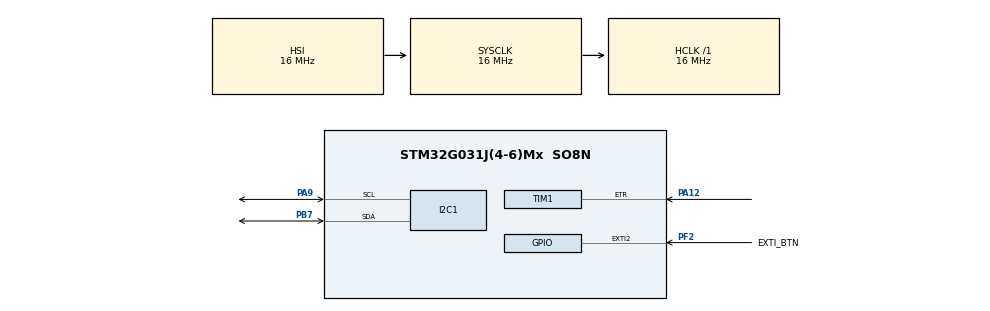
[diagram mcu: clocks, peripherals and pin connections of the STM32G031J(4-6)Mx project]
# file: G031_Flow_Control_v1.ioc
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Mcu.Family=STM32G0
Mcu.Name=STM32G031J(4-6)Mx
Mcu.Package=SO8N
NVIC.EXTI2_3_IRQn=true\:0\:0\:false\:false\:true\:true\:true
NVIC.RTC_TAMP_IRQn=true\:0\:0\:false\:false\:true\:true\:true
NVIC.TIM3_IRQn=true\:0\:0\:false\:false\:true\:true\:true
PA12\ [PA10].Signal=S_TIM1_ETR
PA13.Mode=Serial_Wire
PA13.Signal=SYS_SWDIO
PA14-BOOT0.Mode=Serial_Wire
PA14-BOOT0.Signal=SYS_SWCLK
PA9\ [PA11].Mode=I2C
PA9\ [PA11].Signal=I2C1_SCL
PB7.Mode=I2C
PB7.Signal=I2C1_SDA
PF2\ -\ NRST.GPIO_Label=EXTI_BTN
PF2\ -\ NRST.GPIO_ModeDefaultEXTI=GPIO_MODE_IT_FALLING
PF2\ -\ NRST.GPIO_PuPd=GPIO_PULLUP
PF2\ -\ NRST.Signal=GPXTI2
ProjectManager.HeapSize=0x200
ProjectManager.StackSize=0x400
ProjectManager.TargetToolchain=STM32CubeIDE
RCC.AHBFreq_Value=16000000
RCC.CortexFreq_Value=16000000
RCC.EXTERNAL_CLOCK_VALUE=12288000
RCC.HCLKFreq_Value=16000000
RCC.HSE_VALUE=8000000
RCC.HSI_VALUE=16000000
RCC.LSE_VALUE=32768
RCC.SYSCLKFreq_VALUE=16000000
RCC.VCOOutputFreq_Value=128000000
RTC.Hours=12
RTC.SynchPrediv=246
RTC.WakeUpClock=RTC_WAKEUPCLOCK_CK_SPRE_16BITS
RTC.WakeUpCounter=1
RTC.Year=21
SH.S_TIM1_ETR.0=TIM1_ETR,ClockSourceETR_Mode2
TIM3.Period=10000-1
TIM3.Prescaler=1600-1
TIM3.TIM_MasterOutputTrigger=TIM_TRGO_ENABLE
VP_RTC_VS_RTC_Activate.Mode=RTC_Enabled
VP_RTC_VS_RTC_Calendar.Mode=RTC_Calendar
VP_RTC_VS_RTC_WakeUp_intern.Mode=WakeUp
VP_SYS_VS_PINREMAP.Mode=PINREMAP
VP_TIM1_VS_ClockSourceITR.Mode=TriggerSource_ITR2
VP_TIM1_VS_ControllerModeGated.Mode=Gated Mode
VP_TIM3_VS_ClockSourceINT.Mode=Internal
board=custom

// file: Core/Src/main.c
/* USER CODE BEGIN Header */
/**
  ******************************************************************************
  * @file           : main.c
  * @brief          : Main program body
  ******************************************************************************
  * @attention
  *
  * <h2><center>&copy; Copyright (c) 2021 STMicroelectronics.
  * All rights reserved.</center></h2>
  *
  * This software component is licensed by ST under BSD 3-Clause license,
  * the "License"; You may not use this file except in compliance with the
  * License. You may obtain a copy of the License at:
  *                        opensource.org/licenses/BSD-3-Clause
  *
  ******************************************************************************
  */
/* USER CODE END Header */
#include "main.h"

/* USER CODE BEGIN Includes */
#include "EEPROM.h"
#include "lcd1602_i2c.h"
#include "menu.h"]
#include "flow_control.h"
#include "stdio.h"
#include "pcf857x.h"
/* USER CODE END Includes */

/* USER CODE BEGIN PD */
#define LCD_ADDR 	39
#define EXT_IO 		35
/* USER CODE END PD */

I2C_HandleTypeDef hi2c1;

RTC_HandleTypeDef hrtc;

TIM_HandleTypeDef htim1;
TIM_HandleTypeDef htim3;

/* USER CODE BEGIN PV */
volatile int delay = 500;
static int seconds = 0;
static int frequency = 0;
static int cb = 0;
static bool alarm_on = false;
static pulses = 0;

uint8_t lcd_addr;
uint8_t addrs[5] = {0, };

extern bool Key_press_event = false;
extern Menu_Keys Key_pressed = KEY_NONE;

extern FC_Settings fc_settings;

/* USER CODE END PV */

void SystemClock_Config(void);
static void MX_GPIO_Init(void);
static void MX_I2C1_Init(void);
static void MX_TIM1_Init(void);
static void MX_TIM3_Init(void);
static void MX_RTC_Init(void);
/* USER CODE BEGIN PFP */
void GetKey();
void EnableRTCWkUP();

/* USER CODE END PFP */

/* USER CODE BEGIN 0 */
void alarm() {

	alarm_on = true;

	for(int repeats=0; repeats < 4; repeats++) {
	  pcf857x_Write(0, 1);
	  HAL_Delay(100);
	  pcf857x_Write(0, 0);
	  HAL_Delay(100);
	}
	pcf857x_ResetInterruptPin();

	alarm_on = false;

}
/* USER CODE END 0 */

int main(void)
{

  /* MCU Configuration--------------------------------------------------------*/

  /* Reset of all peripherals, Initializes the Flash interface and the Systick. */
  HAL_Init();

  /* Configure the system clock */
  SystemClock_Config();

  /* Initialize all configured peripherals */
  MX_GPIO_Init();
  MX_I2C1_Init();
  MX_TIM1_Init();
  MX_TIM3_Init();
  MX_RTC_Init();
  /* USER CODE BEGIN 2 */

//    uint8_t curr_addr = 0;
//    uint8_t cnt = 0;
//    while(curr_addr != 128) {
//
//  	  curr_addr = I2C_Scan(&hi2c1, curr_addr + 1);
//  	  addrs[cnt++] = curr_addr;
//
//
//    }

//    HAL_StatusTypeDef res = HAL_I2C_Master_Transmit(&hi2c1, EXT_IO << 1, 0b01111111,
//                                  1, HAL_MAX_DELAY);
//
//    if(res != HAL_OK) {
//  	  while(1);
//    }

  if(pcf857x_Init(0b11111110, false) != PCF857x_OK)
   {
    while(1);
   }

  pcf857x_ResetInterruptPin();

  if(LCD_Init(&hi2c1, LCD_ADDR) != HAL_OK) {
	  while(1);
  }

  // set address to 0x00
  LCD_SendCommand(0b10000000);
  LCD_SendString("Flow meter");

  // set address to 0x40
  LCD_SendCommand(0b11000000);
  LCD_SendString("version 1.0");

  HAL_Delay(1000);

  //mem testing
  EEPROM_Init();
  pulses_calibration = 0;
  sessionLitres = 0;
  calibration_mode = false;
//  EEPROM_Test();
//  //EEPROM_Test();
//  LCD_Cls();
//  LCD_SendCommand(0b10000000);
//  LCD_SendString("Test passed...");
//  while(1);
  //

  /* USER CODE END 2 */

  /* Infinite loop */
  /* USER CODE BEGIN WHILE */

  HAL_TIM_Base_Start_IT(&htim3);
  HAL_TIM_Base_Start(&htim1);

  EnableRTCWkUP();
  flowControlSetup();

  while (1)
  {

	  switch (CurrentAppState) {

	  	case APP_STATE_START:
		case APP_STATE_IDLE:
		case APP_STATE_IDLE_LIGHTON:
		case APP_STATE_EXT_VIEW_1:
		case APP_STATE_EXT_VIEW_2:

			processIdleState();
			break;

		case APP_STATE_FIRST_START:
			break;

		case APP_STATE_MENU_SHOW:
			MENU_Run(Key_pressed);
			break;

		default:
			break;

	  }

	  if(needMakeRecord) {
		  putRecordToLog();
		  if(currentWaterConsumption > fc_settings.alarmLitres)
			  alarm();
	  }

    /* USER CODE END WHILE */

  }
}

void SystemClock_Config(void)
{
  RCC_OscInitTypeDef RCC_OscInitStruct = {0};
  RCC_ClkInitTypeDef RCC_ClkInitStruct = {0};
  RCC_PeriphCLKInitTypeDef PeriphClkInit = {0};

  /** Configure the main internal regulator output voltage
  */
  HAL_PWREx_ControlVoltageScaling(PWR_REGULATOR_VOLTAGE_SCALE1);
  /** Initializes the RCC Oscillators according to the specified parameters
  * in the RCC_OscInitTypeDef structure.
  */
  RCC_OscInitStruct.OscillatorType = RCC_OSCILLATORTYPE_HSI|RCC_OSCILLATORTYPE_LSI;
  RCC_OscInitStruct.HSIState = RCC_HSI_ON;
  RCC_OscInitStruct.HSIDiv = RCC_HSI_DIV1;
  RCC_OscInitStruct.HSICalibrationValue = RCC_HSICALIBRATION_DEFAULT;
  RCC_OscInitStruct.LSIState = RCC_LSI_ON;
  RCC_OscInitStruct.PLL.PLLState = RCC_PLL_NONE;
  if (HAL_RCC_OscConfig(&RCC_OscInitStruct) != HAL_OK)
  {
    Error_Handler();
  }
  /** Initializes the CPU, AHB and APB buses clocks
  */
  RCC_ClkInitStruct.ClockType = RCC_CLOCKTYPE_HCLK|RCC_CLOCKTYPE_SYSCLK
                              |RCC_CLOCKTYPE_PCLK1;
  RCC_ClkInitStruct.SYSCLKSource = RCC_SYSCLKSOURCE_HSI;
  RCC_ClkInitStruct.AHBCLKDivider = RCC_SYSCLK_DIV1;
  RCC_ClkInitStruct.APB1CLKDivider = RCC_HCLK_DIV1;

  if (HAL_RCC_ClockConfig(&RCC_ClkInitStruct, FLASH_LATENCY_0) != HAL_OK)
  {
    Error_Handler();
  }
  /** Initializes the peripherals clocks
  */
  PeriphClkInit.PeriphClockSelection = RCC_PERIPHCLK_RTC|RCC_PERIPHCLK_I2C1
                              |RCC_PERIPHCLK_TIM1;
  PeriphClkInit.I2c1ClockSelection = RCC_I2C1CLKSOURCE_PCLK1;
  PeriphClkInit.Tim1ClockSelection = RCC_TIM1CLKSOURCE_PCLK1;
  PeriphClkInit.RTCClockSelection = RCC_RTCCLKSOURCE_LSI;

  if (HAL_RCCEx_PeriphCLKConfig(&PeriphClkInit) != HAL_OK)
  {
    Error_Handler();
  }
}

static void MX_I2C1_Init(void)
{

  hi2c1.Instance = I2C1;
  hi2c1.Init.Timing = 0x00303D5B;
  hi2c1.Init.OwnAddress1 = 0;
  hi2c1.Init.AddressingMode = I2C_ADDRESSINGMODE_7BIT;
  hi2c1.Init.DualAddressMode = I2C_DUALADDRESS_DISABLE;
  hi2c1.Init.OwnAddress2 = 0;
  hi2c1.Init.OwnAddress2Masks = I2C_OA2_NOMASK;
  hi2c1.Init.GeneralCallMode = I2C_GENERALCALL_DISABLE;
  hi2c1.Init.NoStretchMode = I2C_NOSTRETCH_DISABLE;
  if (HAL_I2C_Init(&hi2c1) != HAL_OK)
  {
    Error_Handler();
  }
  /** Configure Analogue filter
  */
  if (HAL_I2CEx_ConfigAnalogFilter(&hi2c1, I2C_ANALOGFILTER_ENABLE) != HAL_OK)
  {
    Error_Handler();
  }
  /** Configure Digital filter
  */
  if (HAL_I2CEx_ConfigDigitalFilter(&hi2c1, 0) != HAL_OK)
  {
    Error_Handler();
  }

}

static void MX_RTC_Init(void)
{

  RTC_TimeTypeDef sTime = {0};
  RTC_DateTypeDef sDate = {0};

  /** Initialize RTC Only
  */
  hrtc.Instance = RTC;
  hrtc.Init.HourFormat = RTC_HOURFORMAT_24;
  hrtc.Init.AsynchPrediv = 127;
  hrtc.Init.SynchPrediv = 246;
  hrtc.Init.OutPut = RTC_OUTPUT_DISABLE;
  hrtc.Init.OutPutRemap = RTC_OUTPUT_REMAP_NONE;
  hrtc.Init.OutPutPolarity = RTC_OUTPUT_POLARITY_HIGH;
  hrtc.Init.OutPutType = RTC_OUTPUT_TYPE_OPENDRAIN;
  hrtc.Init.OutPutPullUp = RTC_OUTPUT_PULLUP_NONE;
  if (HAL_RTC_Init(&hrtc) != HAL_OK)
  {
    Error_Handler();
  }

  /* USER CODE BEGIN Check_RTC_BKUP */
  	  return;
  /* USER CODE END Check_RTC_BKUP */

  /** Initialize RTC and set the Time and Date
  */
  sTime.Hours = 0x12;
  sTime.Minutes = 0x0;
  sTime.Seconds = 0x0;
  sTime.SubSeconds = 0x0;
  sTime.DayLightSaving = RTC_DAYLIGHTSAVING_NONE;
  sTime.StoreOperation = RTC_STOREOPERATION_RESET;
  if (HAL_RTC_SetTime(&hrtc, &sTime, RTC_FORMAT_BCD) != HAL_OK)
  {
    Error_Handler();
  }
  sDate.WeekDay = RTC_WEEKDAY_MONDAY;
  sDate.Month = RTC_MONTH_JANUARY;
  sDate.Date = 0x1;
  sDate.Year = 0x21;

  if (HAL_RTC_SetDate(&hrtc, &sDate, RTC_FORMAT_BCD) != HAL_OK)
  {
    Error_Handler();
  }
  /** Enable the WakeUp
  */
  if (HAL_RTCEx_SetWakeUpTimer_IT(&hrtc, 1, RTC_WAKEUPCLOCK_CK_SPRE_16BITS) != HAL_OK)
  {
    Error_Handler();
  }

}

static void MX_TIM1_Init(void)
{

  TIM_ClockConfigTypeDef sClockSourceConfig = {0};
  TIM_SlaveConfigTypeDef sSlaveConfig = {0};
  TIM_MasterConfigTypeDef sMasterConfig = {0};

  htim1.Instance = TIM1;
  htim1.Init.Prescaler = 0;
  htim1.Init.CounterMode = TIM_COUNTERMODE_UP;
  htim1.Init.Period = 65535;
  htim1.Init.ClockDivision = TIM_CLOCKDIVISION_DIV1;
  htim1.Init.RepetitionCounter = 0;
  htim1.Init.AutoReloadPreload = TIM_AUTORELOAD_PRELOAD_DISABLE;
  if (HAL_TIM_Base_Init(&htim1) != HAL_OK)
  {
    Error_Handler();
  }
  sClockSourceConfig.ClockSource = TIM_CLOCKSOURCE_ETRMODE2;
  sClockSourceConfig.ClockPolarity = TIM_CLOCKPOLARITY_NONINVERTED;
  sClockSourceConfig.ClockPrescaler = TIM_CLOCKPRESCALER_DIV1;
  sClockSourceConfig.ClockFilter = 0;
  if (HAL_TIM_ConfigClockSource(&htim1, &sClockSourceConfig) != HAL_OK)
  {
    Error_Handler();
  }
  sSlaveConfig.SlaveMode = TIM_SLAVEMODE_GATED;
  sSlaveConfig.InputTrigger = TIM_TS_ITR2;
  if (HAL_TIM_SlaveConfigSynchro(&htim1, &sSlaveConfig) != HAL_OK)
  {
    Error_Handler();
  }
  sMasterConfig.MasterOutputTrigger = TIM_TRGO_RESET;
  sMasterConfig.MasterOutputTrigger2 = TIM_TRGO2_RESET;
  sMasterConfig.MasterSlaveMode = TIM_MASTERSLAVEMODE_DISABLE;
  if (HAL_TIMEx_MasterConfigSynchronization(&htim1, &sMasterConfig) != HAL_OK)
  {
    Error_Handler();
  }

}

static void MX_TIM3_Init(void)
{

  TIM_ClockConfigTypeDef sClockSourceConfig = {0};
  TIM_MasterConfigTypeDef sMasterConfig = {0};

  htim3.Instance = TIM3;
  htim3.Init.Prescaler = 1600-1;
  htim3.Init.CounterMode = TIM_COUNTERMODE_UP;
  htim3.Init.Period = 10000-1;
  htim3.Init.ClockDivision = TIM_CLOCKDIVISION_DIV1;
  htim3.Init.AutoReloadPreload = TIM_AUTORELOAD_PRELOAD_DISABLE;
  if (HAL_TIM_Base_Init(&htim3) != HAL_OK)
  {
    Error_Handler();
  }
  sClockSourceConfig.ClockSource = TIM_CLOCKSOURCE_INTERNAL;
  if (HAL_TIM_ConfigClockSource(&htim3, &sClockSourceConfig) != HAL_OK)
  {
    Error_Handler();
  }
  sMasterConfig.MasterOutputTrigger = TIM_TRGO_ENABLE;
  sMasterConfig.MasterSlaveMode = TIM_MASTERSLAVEMODE_DISABLE;
  if (HAL_TIMEx_MasterConfigSynchronization(&htim3, &sMasterConfig) != HAL_OK)
  {
    Error_Handler();
  }

}

static void MX_GPIO_Init(void)
{
  GPIO_InitTypeDef GPIO_InitStruct = {0};

  /* GPIO Ports Clock Enable */
  __HAL_RCC_GPIOB_CLK_ENABLE();
  __HAL_RCC_GPIOF_CLK_ENABLE();
  __HAL_RCC_GPIOA_CLK_ENABLE();

  /*Configure GPIO pin : EXTI_BTN_Pin */
  GPIO_InitStruct.Pin = EXTI_BTN_Pin;
  GPIO_InitStruct.Mode = GPIO_MODE_IT_FALLING;
  GPIO_InitStruct.Pull = GPIO_PULLUP;
  HAL_GPIO_Init(EXTI_BTN_GPIO_Port, &GPIO_InitStruct);

  /* EXTI interrupt init*/
  HAL_NVIC_SetPriority(EXTI2_3_IRQn, 0, 0);
  HAL_NVIC_EnableIRQ(EXTI2_3_IRQn);

}

/* USER CODE BEGIN 4 */

void GetKey() {

	if(Key_press_event) {

		Key_pressed = KEY_NONE;
		debounceCnt = 0;
		pressedCnt = 0;

		//Key_press_event = false;
		for (int key_num = 1; key_num < 5; key_num++)
		  {
		   if(!pcf857x_Read(key_num))
		   {
			   Key_pressed = (Menu_Keys) key_num;

			   break;
		   }

		}
		pcf857x_ResetInterruptPin();
	}

}

void EnableRTCWkUP() {

//	if (HAL_RTCEx_SetWakeUpTimer_IT(&hrtc, 1, RTC_WAKEUPCLOCK_CK_SPRE_16BITS) != HAL_OK)
//	{
//		Error_Handler();
//	}

	if (HAL_RTCEx_SetWakeUpTimer_IT(&hrtc, 2000, RTC_WAKEUPCLOCK_RTCCLK_DIV16) != HAL_OK)
	{
		Error_Handler();
	}

}

void HAL_RTCEx_WakeUpTimerEventCallback(RTC_HandleTypeDef *hrtc) {

	data_idle2_changed = true;
	secCnt++;

//	if (HAL_RTCEx_SetWakeUpTimer(&hrtc, 1, RTC_WAKEUPCLOCK_CK_SPRE_16BITS) != HAL_OK)
//	{
//		Error_Handler();
//	}

}

void HAL_GPIO_EXTI_Falling_Callback(uint16_t GPIO_Pin)
{

	if(GPIO_Pin == EXTI_BTN_Pin && !Key_press_event) {

		//if(i2c_locked) return;
		if(alarm_on) return;

		Key_press_event = true;
		GetKey();

	}

}

void HAL_TIM_PeriodElapsedCallback(TIM_HandleTypeDef *htim)
{
	if(htim == &htim3)
	{
		static bool flow_was = false;
		static uint8_t stopConsumptionCnt = 0;
		static uint32_t sessionSeconds = 0;
		//static uint8_t sessionLitres = 0;
		static float sessionWaterConsumption = 0.0f;

		HAL_TIM_Base_Stop_IT(&htim3);
		uint16_t count = __HAL_TIM_GET_COUNTER(&htim1); // значение в счётчике таймера №1
		//__HAL_TIM_SET_COUNTER(&htim1, 0x0000); //just in time nullize for keep next count

		pulses += count;
		pulses_calibration += count;

		if(!calibration_mode) {

			if(fc_settings.pulsesPerLitre) {

				uint8_t litres = pulses/fc_settings.pulsesPerLitre;
				pulses = pulses - (litres * fc_settings.pulsesPerLitre);
				currentWaterConsumption += litres;
				totalWaterConsumption += litres;

				if(count > 0) {
					sessionSeconds++;
					sessionLitres += litres;
				}

				if(litres > 0) data_idleBase_changed = true;

			}

			frequency = count;
			seconds++;

			if(count > 0) {
				stopConsumptionCnt = 0;
				flow_was = true;
			} else {

				stopConsumptionCnt++;
				if(stopConsumptionCnt > 3 && flow_was) {

					flow_was = false;
					data_idleBase_changed = true;

					//count average consumption
					if(sessionSeconds != 0) {

						sessionWaterConsumption = (float)sessionLitres/((float)sessionSeconds/60);
						if(averageWaterConsumption > 0) {

							averageWaterConsumption += sessionWaterConsumption;
							averageWaterConsumption /= 2;

						} else {

							averageWaterConsumption = sessionWaterConsumption;

						}

						sessionSeconds = 0;
						//sessionLitres = 0;
						sessionWaterConsumption = 0;
					}

					//make record after stopping consumption of water
					needMakeRecord = true;

				}

			}
		}

		//////////////// обнуляем счётчики и рестартуем таймер №3 /////////////////
		__HAL_TIM_SET_COUNTER(&htim1, 0x0000);
		HAL_TIM_Base_Start_IT(&htim3); //следующая секунда

		//uint16_t count_secondary = __HAL_TIM_GET_COUNTER(&htim3); // значение в счётчике таймера №3
		//uint16_t arr = __HAL_TIM_GET_AUTORELOAD(&htim2); // значение переполнения таймера №2 (65535)
		//uint32_t freq = count_main + (count_secondary * arr) + count_secondary; // вычисляем

//      ///////////////////////// вывод инфы ///////////////////////////////
//      char str[96] = {0,};
//		HAL_UART_Transmit(&huart1, (uint8_t*)str, strlen(str), 1000);

	}

}

void HAL_TIM_IC_CaptureCallback(TIM_HandleTypeDef *htim) {

	if(htim == &htim1) {

		cb++;

	}

}

/* USER CODE END 4 */

void Error_Handler(void)
{
  __disable_irq();
  while (1)
  {
  }
}

/************************ (C) COPYRIGHT STMicroelectronics *****END OF FILE****/
